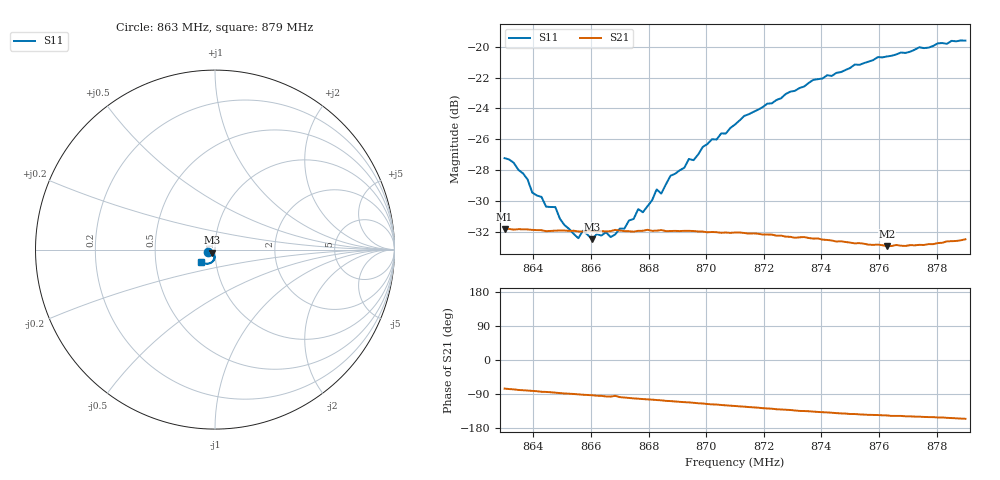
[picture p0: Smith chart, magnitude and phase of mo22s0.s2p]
# HZ S RI R 50
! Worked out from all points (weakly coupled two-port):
!   101 points, 863 MHz to 879 MHz, reference 50 ohm
!   highest |S21| = -31.81 dB at 863 MHz (marker M1); lowest = -32.9 dB at 876.28 MHz (marker M2)
!   lowest |S11| = -32.5 dB at 866.04 MHz (marker M3), VSWR 1.05, Z = 48.4 - j1.74 ohm
!   |S11| at or under -10 dB: start of sweep to end of sweep
!   S12 and S22 are empty: the file has one direction only
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8.63e8  -0.0416 -0.0129  0.00645 -0.0248  0 0  0 0
8.6364e8  -0.0369 -0.012  0.00454 -0.0252  0 0  0 0
8.6396e8  -0.0315 -0.0118  0.00375 -0.0252  0 0  0 0
8.6428e8  -0.0298 -0.0132  0.00274 -0.0253  0 0  0 0
8.6444e8  -0.0281 -0.0113  0.00251 -0.0251  0 0  0 0
8.6476e8  -0.0271 -0.0133  0.00168 -0.0253  0 0  0 0
8.6492e8  -0.0243 -0.0133  0.00117 -0.0253  0 0  0 0
8.654e8  -0.0204 -0.0139  0.000138 -0.0253  0 0  0 0
8.6556e8  -0.0183 -0.0155  -0.000256 -0.0252  0 0  0 0
8.6572e8  -0.0177 -0.0181  -0.000756 -0.0251  0 0  0 0
8.6604e8  -0.0156 -0.0179  -0.00137 -0.0252  0 0  0 0
8.6716e8  -0.00855 -0.0243  -0.00399 -0.0249  0 0  0 0
8.6764e8  -0.0076 -0.0288  -0.00532 -0.0247  0 0  0 0
8.678e8  -0.00579 -0.0285  -0.00573 -0.0246  0 0  0 0
8.6828e8  -0.00509 -0.0341  -0.00683 -0.0244  0 0  0 0
8.6844e8  -0.00349 -0.0332  -0.00718 -0.0244  0 0  0 0
8.6876e8  -0.00261 -0.0381  -0.00798 -0.024  0 0  0 0
8.71e8  -0.00567 -0.0557  -0.013 -0.0213  0 0  0 0
8.7372e8  -0.0231 -0.0746  -0.0172 -0.0165  0 0  0 0
8.7628e8  -0.0502 -0.0783  -0.0188 -0.0125  0 0  0 0
8.7644e8  -0.052 -0.0777  -0.0191 -0.0121  0 0  0 0
8.79e8  -0.0794 -0.0682  -0.0215 -0.00999  0 0  0 0
